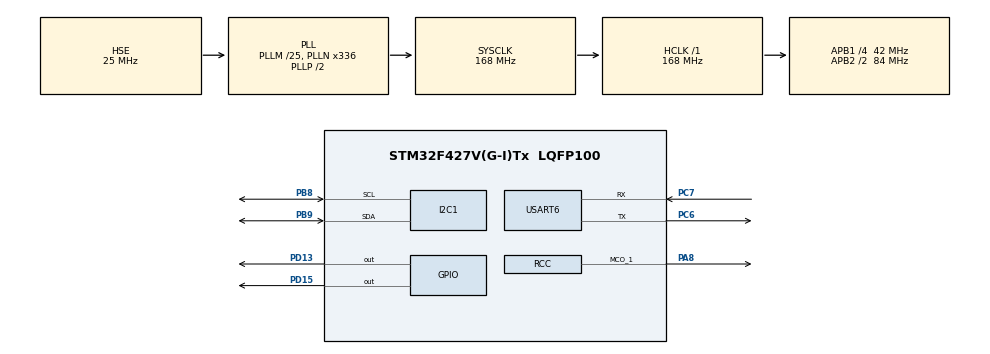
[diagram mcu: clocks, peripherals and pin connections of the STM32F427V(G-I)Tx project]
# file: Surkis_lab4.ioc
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I2C1.I2C_Mode=I2C_Standard
Mcu.Family=STM32F4
Mcu.Name=STM32F427V(G-I)Tx
Mcu.Package=LQFP100
NVIC.PriorityGroup=NVIC_PRIORITYGROUP_4
PA13.Mode=JTAG_5_pins
PA13.Signal=SYS_JTMS-SWDIO
PA14.Mode=JTAG_5_pins
PA14.Signal=SYS_JTCK-SWCLK
PA15.Mode=JTAG_5_pins
PA15.Signal=SYS_JTDI
PA8.Mode=Clock-out-1
PA8.Signal=RCC_MCO_1
PB3.Mode=JTAG_5_pins
PB3.Signal=SYS_JTDO-SWO
PB4.Mode=JTAG_5_pins
PB4.Signal=SYS_JTRST
PB8.Mode=I2C
PB8.Signal=I2C1_SCL
PB9.Mode=I2C
PB9.Signal=I2C1_SDA
PC6.Mode=Asynchronous
PC6.Signal=USART6_TX
PC7.Mode=Asynchronous
PC7.Signal=USART6_RX
PD13.Signal=GPIO_Output
PD15.Signal=GPIO_Output
PH0/OSC_IN.Mode=HSE-External-Oscillator
PH0/OSC_IN.Signal=RCC_OSC_IN
PH1/OSC_OUT.Mode=HSE-External-Oscillator
PH1/OSC_OUT.Signal=RCC_OSC_OUT
ProjectManager.HeapSize=0x200
ProjectManager.StackSize=0x400
ProjectManager.TargetToolchain=STM32CubeIDE
RCC.48MHZClocksFreq_Value=84000000
RCC.AHBFreq_Value=168000000
RCC.APB1CLKDivider=RCC_HCLK_DIV4
RCC.APB1Freq_Value=42000000
RCC.APB1TimFreq_Value=84000000
RCC.APB2CLKDivider=RCC_HCLK_DIV2
RCC.APB2Freq_Value=84000000
RCC.APB2TimFreq_Value=168000000
RCC.CortexFreq_Value=168000000
RCC.HCLKFreq_Value=168000000
RCC.HSE_VALUE=25000000
RCC.HSI_VALUE=16000000
RCC.LSE_VALUE=32768
RCC.PLLM=25
RCC.PLLN=336
RCC.PLLSourceVirtual=RCC_PLLSOURCE_HSE
RCC.SYSCLKFreq_VALUE=168000000
RCC.SYSCLKSource=RCC_SYSCLKSOURCE_PLLCLK
RCC.VCOOutputFreq_Value=336000000
USART6.VirtualMode=VM_ASYNC
board=custom

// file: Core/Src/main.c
/* USER CODE BEGIN Header */
/**
 ******************************************************************************
 * @file           : main.c
 * @brief          : Main program body
 ******************************************************************************
 * @attention
 *
 * <h2><center>&copy; Copyright (c) 2021 STMicroelectronics.
 * All rights reserved.</center></h2>
 *
 * This software component is licensed by ST under BSD 3-Clause license,
 * the "License"; You may not use this file except in compliance with the
 * License. You may obtain a copy of the License at:
 *                        opensource.org/licenses/BSD-3-Clause
 *
 ******************************************************************************
 */
/* USER CODE END Header */

#include "main.h"

/* USER CODE BEGIN Includes */
#include <stdio.h>
#include "fonts.h"
#include "oled.h"
#include "sdk_uart.h"
#include "kb.h"
/* USER CODE END Includes */

I2C_HandleTypeDef hi2c1;

UART_HandleTypeDef huart6;

/* USER CODE BEGIN PV */
unsigned char g_input;
/* USER CODE END PV */

void SystemClock_Config(void);
static void MX_GPIO_Init(void);
static void MX_USART6_UART_Init(void);
static void MX_I2C1_Init(void);

/* USER CODE BEGIN 0 */

#define FONT_USED Font_11x18

void HandleInput(unsigned char input) {
	static int id = 0;
	static short xy[2];
	static unsigned char op;
	static unsigned char operators[] = { '+', '-', '*', '/' };
	static int current_op = -1;
	static int number_started = 0;
	int is_error = 0;

	if ('0' <= input && input <= '9') {
		if (id == 0 && !number_started) {
			oled_Fill(Black);
			oled_SetCursor(0, 0);
		} else if (id == 1 && !number_started) {
			oled_WriteString("\r\n", FONT_USED, White);
		}
		oled_WriteChar(input, FONT_USED, White);

		if (xy[id] > 3276 || (xy[id] > 3275 && input > '7')) {
			is_error = 1;
		} else {
			xy[id] = xy[id] * 10 + input - '0';
			number_started = 1;
		}
	} else if (input == '=') {
		oled_WriteChar(input, FONT_USED, White);
		short result = 0;

		if (id == 0 || !number_started) {
			is_error = 1;
		} else {
			switch (op) {
			case '+':
				if (xy[1] > 0x7FFF - xy[0]) {
					is_error = 1;
				} else {
					result = xy[0] + xy[1];
				}
				break;

			case '-':
				result = xy[0] - xy[1];
				break;

			case '*':
				if (xy[1] != 0 && xy[0] >= 0x7FFF / xy[1]) {
					is_error = 1;
				} else {
					result = xy[0] * xy[1];
				}
				break;

			case '/':
				if (xy[1] == 0) {
					is_error = 1;
				} else {
					result = xy[0] / xy[1];
				}
				break;
			}
		}

		if (!is_error) {
			char buf[16];
			snprintf(buf, sizeof(buf), "\r\n%d", result);
			oled_WriteString(buf, FONT_USED, White);
		}

		xy[0] = 0;
		xy[1] = 0;
		id = 0;
		number_started = 0;
		current_op = -1;
	} else if (input == '+') {
		if (id == number_started) {
			is_error = 1;
		} else {
			current_op = (current_op + 1) % 4;
			op = operators[current_op];
			id = 1;
			number_started = 0;
			oled_WriteChar(op, FONT_USED, White);
			oled_WriteChar('\b', FONT_USED, White);
		}
	}

	if (is_error) {
		HAL_GPIO_WritePin(GPIOD, GPIO_PIN_15, GPIO_PIN_SET);
		oled_Fill(Black);
		oled_SetCursor(0, 0);
		oled_WriteString("error\r\n", Font_11x18, White);
		xy[0] = 0;
		xy[1] = 0;
		id = 0;
		number_started = 0;
		current_op = -1;
	} else {
		HAL_GPIO_WritePin(GPIOD, GPIO_PIN_15, GPIO_PIN_RESET);
	}

	oled_UpdateScreen();
}

void KB_Test(void) {
	static const uint8_t rows[] = { 0x1E, 0x3D, 0x7B, 0xF7 };
	static uint8_t old_keys[] = { 0, 0, 0, 0 };
	static int current_row = 0;
	static const char key_chars[] = "1234567890+=";

	uint8_t current_key = Check_Row(rows[current_row]);
	uint8_t *old_key = &old_keys[current_row];

	for (int i = 0; i < 3; ++i) {
		int mask = 1 << i;
		if ((current_key & mask) && !(*old_key & mask)) {
			HandleInput(key_chars[i + 3 * current_row]);
		}
	}

	*old_key = current_key;
	current_row = (current_row + 1) % 4;
}

/* USER CODE END 0 */

int main(void) {

	/* MCU Configuration--------------------------------------------------------*/

	/* Reset of all peripherals, Initializes the Flash interface and the Systick. */
	HAL_Init();

	/* Configure the system clock */
	SystemClock_Config();

	/* Initialize all configured peripherals */
	MX_GPIO_Init();
	MX_USART6_UART_Init();
	MX_I2C1_Init();
	/* USER CODE BEGIN 2 */
	oled_Init();
	oled_Fill(White);
	oled_UpdateScreen();
	/* USER CODE END 2 */

	/* Infinite loop */
	/* USER CODE BEGIN WHILE */
	while (1) {
//		oled_Fill(Black);
//		oled_SetCursor(0, 0);
//		oled_WriteString("qwerty", Font_11x18, White);
//		oled_UpdateScreen();
		KB_Test();
//		oled_SetCursor(0, 0);
//		oled_WriteString("SDK-1.1M", Font_11x18, White);
//		oled_UpdateScreen();
		HAL_Delay(10);
		/* USER CODE END WHILE */

	}
}

void SystemClock_Config(void) {
	RCC_OscInitTypeDef RCC_OscInitStruct = { 0 };
	RCC_ClkInitTypeDef RCC_ClkInitStruct = { 0 };

	/** Configure the main internal regulator output voltage
	 */
	__HAL_RCC_PWR_CLK_ENABLE();
	__HAL_PWR_VOLTAGESCALING_CONFIG(PWR_REGULATOR_VOLTAGE_SCALE1);
	/** Initializes the CPU, AHB and APB busses clocks
	 */
	RCC_OscInitStruct.OscillatorType = RCC_OSCILLATORTYPE_HSI
			| RCC_OSCILLATORTYPE_HSE;
	RCC_OscInitStruct.HSEState = RCC_HSE_ON;
	RCC_OscInitStruct.HSIState = RCC_HSI_ON;
	RCC_OscInitStruct.HSICalibrationValue = RCC_HSICALIBRATION_DEFAULT;
	RCC_OscInitStruct.PLL.PLLState = RCC_PLL_ON;
	RCC_OscInitStruct.PLL.PLLSource = RCC_PLLSOURCE_HSE;
	RCC_OscInitStruct.PLL.PLLM = 25;
	RCC_OscInitStruct.PLL.PLLN = 336;
	RCC_OscInitStruct.PLL.PLLP = RCC_PLLP_DIV2;
	RCC_OscInitStruct.PLL.PLLQ = 4;
	if (HAL_RCC_OscConfig(&RCC_OscInitStruct) != HAL_OK) {
		Error_Handler();
	}
	/** Initializes the CPU, AHB and APB busses clocks
	 */
	RCC_ClkInitStruct.ClockType = RCC_CLOCKTYPE_HCLK | RCC_CLOCKTYPE_SYSCLK
			| RCC_CLOCKTYPE_PCLK1 | RCC_CLOCKTYPE_PCLK2;
	RCC_ClkInitStruct.SYSCLKSource = RCC_SYSCLKSOURCE_PLLCLK;
	RCC_ClkInitStruct.AHBCLKDivider = RCC_SYSCLK_DIV1;
	RCC_ClkInitStruct.APB1CLKDivider = RCC_HCLK_DIV4;
	RCC_ClkInitStruct.APB2CLKDivider = RCC_HCLK_DIV2;

	if (HAL_RCC_ClockConfig(&RCC_ClkInitStruct, FLASH_LATENCY_5) != HAL_OK) {
		Error_Handler();
	}
	HAL_RCC_MCOConfig(RCC_MCO1, RCC_MCO1SOURCE_HSI, RCC_MCODIV_1);
}

static void MX_I2C1_Init(void) {

	hi2c1.Instance = I2C1;
	hi2c1.Init.ClockSpeed = 100000;
	hi2c1.Init.DutyCycle = I2C_DUTYCYCLE_2;
	hi2c1.Init.OwnAddress1 = 0;
	hi2c1.Init.AddressingMode = I2C_ADDRESSINGMODE_7BIT;
	hi2c1.Init.DualAddressMode = I2C_DUALADDRESS_DISABLE;
	hi2c1.Init.OwnAddress2 = 0;
	hi2c1.Init.GeneralCallMode = I2C_GENERALCALL_DISABLE;
	hi2c1.Init.NoStretchMode = I2C_NOSTRETCH_DISABLE;
	if (HAL_I2C_Init(&hi2c1) != HAL_OK) {
		Error_Handler();
	}
	/** Configure Analogue filter
	 */
	if (HAL_I2CEx_ConfigAnalogFilter(&hi2c1, I2C_ANALOGFILTER_ENABLE)
			!= HAL_OK) {
		Error_Handler();
	}
	/** Configure Digital filter
	 */
	if (HAL_I2CEx_ConfigDigitalFilter(&hi2c1, 0) != HAL_OK) {
		Error_Handler();
	}

}

static void MX_USART6_UART_Init(void) {

	huart6.Instance = USART6;
	huart6.Init.BaudRate = 115200;
	huart6.Init.WordLength = UART_WORDLENGTH_8B;
	huart6.Init.StopBits = UART_STOPBITS_1;
	huart6.Init.Parity = UART_PARITY_NONE;
	huart6.Init.Mode = UART_MODE_TX_RX;
	huart6.Init.HwFlowCtl = UART_HWCONTROL_NONE;
	huart6.Init.OverSampling = UART_OVERSAMPLING_16;
	if (HAL_UART_Init(&huart6) != HAL_OK) {
		Error_Handler();
	}

}

static void MX_GPIO_Init(void) {
	GPIO_InitTypeDef GPIO_InitStruct = { 0 };

	/* GPIO Ports Clock Enable */
	__HAL_RCC_GPIOH_CLK_ENABLE();
	__HAL_RCC_GPIOD_CLK_ENABLE();
	__HAL_RCC_GPIOC_CLK_ENABLE();
	__HAL_RCC_GPIOA_CLK_ENABLE();
	__HAL_RCC_GPIOB_CLK_ENABLE();

	/*Configure GPIO pin Output Level */
	HAL_GPIO_WritePin(GPIOD, GPIO_PIN_13 | GPIO_PIN_15, GPIO_PIN_RESET);

	/*Configure GPIO pins : PD13 PD15 */
	GPIO_InitStruct.Pin = GPIO_PIN_13 | GPIO_PIN_15;
	GPIO_InitStruct.Mode = GPIO_MODE_OUTPUT_PP;
	GPIO_InitStruct.Pull = GPIO_NOPULL;
	GPIO_InitStruct.Speed = GPIO_SPEED_FREQ_LOW;
	HAL_GPIO_Init(GPIOD, &GPIO_InitStruct);

	/*Configure GPIO pin : PA8 */
	GPIO_InitStruct.Pin = GPIO_PIN_8;
	GPIO_InitStruct.Mode = GPIO_MODE_AF_PP;
	GPIO_InitStruct.Pull = GPIO_NOPULL;
	GPIO_InitStruct.Speed = GPIO_SPEED_FREQ_LOW;
	GPIO_InitStruct.Alternate = GPIO_AF0_MCO;
	HAL_GPIO_Init(GPIOA, &GPIO_InitStruct);

}

void Error_Handler(void) {
}

/************************ (C) COPYRIGHT STMicroelectronics *****END OF FILE****/
